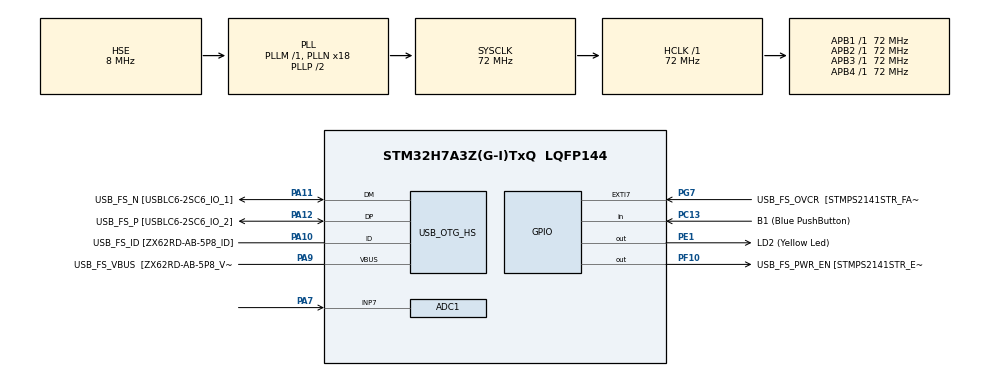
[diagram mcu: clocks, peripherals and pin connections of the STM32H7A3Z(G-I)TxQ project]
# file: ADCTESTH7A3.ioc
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ADC1.Channel-1\#ChannelRegularConversion=ADC_CHANNEL_7
ADC1.ClockPrescaler=ADC_CLOCK_ASYNC_DIV2
ADC1.ContinuousConvMode=ENABLE
ADC1.NbrOfConversionFlag=1
ADC1.OffsetNumber-1\#ChannelRegularConversion=ADC_OFFSET_NONE
ADC1.OffsetSignedSaturation-1\#ChannelRegularConversion=DISABLE
ADC1.Rank-1\#ChannelRegularConversion=1
ADC1.Resolution=ADC_RESOLUTION_12B
ADC1.SamplingTime-1\#ChannelRegularConversion=ADC_SAMPLETIME_64CYCLES_5
ADC1.master=1
Mcu.Family=STM32H7
Mcu.Name=STM32H7A3Z(G-I)TxQ
Mcu.Package=LQFP144
NVIC.PriorityGroup=NVIC_PRIORITYGROUP_4
PA10.GPIO_Label=USB_FS_ID [ZX62RD-AB-5P8_ID]
PA10.Mode=OTG/Dual-Role-Device-FS
PA10.Signal=USB_OTG_HS_ID
PA11.GPIO_Label=USB_FS_N [USBLC6-2SC6_IO_1]
PA11.Mode=OTG/Dual-Role-Device-FS
PA11.Signal=USB_OTG_HS_DM
PA12.GPIO_Label=USB_FS_P [USBLC6-2SC6_IO_2]
PA12.Mode=OTG/Dual-Role-Device-FS
PA12.Signal=USB_OTG_HS_DP
PA7.Signal=ADCx_INP7
PA9.GPIO_Label=USB_FS_VBUS  [ZX62RD-AB-5P8_VBUS]
PA9.Mode=Activate_VBUS_FS
PA9.Signal=USB_OTG_HS_VBUS
PC13.GPIO_Label=B1 (Blue PushButton)
PC13.Signal=GPIO_Input
PC14-OSC32_IN.GPIO_Label=OSC32_IN
PC14-OSC32_IN.Mode=LSE-External-Oscillator
PC14-OSC32_IN.Signal=RCC_OSC32_IN
PC15-OSC32_OUT.GPIO_Label=OSC32_OUT
PC15-OSC32_OUT.Mode=LSE-External-Oscillator
PC15-OSC32_OUT.Signal=RCC_OSC32_OUT
PE1.GPIO_Label=LD2 (Yellow Led)
PE1.Signal=GPIO_Output
PF10.GPIO_Label=USB_FS_PWR_EN [STMPS2141STR_EN]
PF10.Signal=GPIO_Output
PG7.GPIO_Label=USB_FS_OVCR  [STMPS2141STR_FAULT]
PG7.Signal=GPXTI7
PH0-OSC_IN.GPIO_Label=PH0-MCU
PH0-OSC_IN.Mode=HSE-External-Oscillator
PH0-OSC_IN.Signal=RCC_OSC_IN
PH1-OSC_OUT.GPIO_Label=PH1-MCU
PH1-OSC_OUT.Mode=HSE-External-Oscillator
PH1-OSC_OUT.Signal=RCC_OSC_OUT
ProjectManager.HeapSize=0x200
ProjectManager.StackSize=0x400
ProjectManager.TargetToolchain=STM32CubeIDE
RCC.ADCFreq_Value=42666666.666666664
RCC.APB1Freq_Value=72000000
RCC.APB2Freq_Value=72000000
RCC.APB3Freq_Value=72000000
RCC.APB4Freq_Value=72000000
RCC.CortexFreq_Value=72000000
RCC.DIVM1=1
RCC.DIVM2=1
RCC.DIVM3=1
RCC.DIVN1=18
RCC.DIVN2=16
RCC.DIVN3=24
RCC.DIVP2=3
RCC.DIVQ1=4
RCC.HCLKFreq_Value=72000000
RCC.HSE_VALUE=8000000
RCC.PLL2FRACN=0
RCC.PLLFRACN=0
RCC.PLLSourceVirtual=RCC_PLLSOURCE_HSE
RCC.PWR_Regulator_Voltage_Scale=PWR_REGULATOR_VOLTAGE_SCALE0
RCC.SYSCLKFreq_VALUE=72000000
RCC.SYSCLKSource=RCC_SYSCLKSOURCE_PLLCLK
RCC.SupplySource=PWR_DIRECT_SMPS_SUPPLY
RCC.USBCLockSelection=RCC_USBCLKSOURCE_HSI48
RCC.USBFreq_Value=48000000
SH.ADCx_INP7.0=ADC1_INP7,IN7-Single-Ended
board=NUCLEO-H7A3ZI-Q

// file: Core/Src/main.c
/* USER CODE BEGIN Header */
/**
  ******************************************************************************
  * @file           : main.c
  * @brief          : Main program body
  ******************************************************************************
  * @attention
  *
  * Copyright (c) 2024 STMicroelectronics.
  * All rights reserved.
  *
  * This software is licensed under terms that can be found in the LICENSE file
  * in the root directory of this software component.
  * If no LICENSE file comes with this software, it is provided AS-IS.
  *
  ******************************************************************************
  */
/* USER CODE END Header */
#include "main.h"

/* USER CODE BEGIN PM */
int RawValueB;
int OffsetB;
float VoltageB;
float AmpCurrentB = 0;
uint16_t adc_samples[10];
float current;
float adc_average=0;
uint16_t readValue;
float sensitivity = 0.1; // 0.1 for 20A Model
float rawVoltage;
float current;
uint32_t adc_sum = 0;
uint32_t calibration_value;
/* USER CODE END PM */

ADC_HandleTypeDef hadc1;

void SystemClock_Config(void);
static void MX_GPIO_Init(void);
static void MX_USB_OTG_HS_USB_Init(void);
static void MX_ADC1_Init(void);

int main(void)
{

  /* MCU Configuration--------------------------------------------------------*/

  /* Reset of all peripherals, Initializes the Flash interface and the Systick. */
  HAL_Init();

  /* Configure the system clock */
  SystemClock_Config();

  /* Initialize all configured peripherals */
  MX_GPIO_Init();
  MX_USB_OTG_HS_USB_Init();
  MX_ADC1_Init();

  /* Infinite loop */
  while (1)
  {

    /* USER CODE BEGIN 3 */

	  for(int i=0;i<4;i++){
	           HAL_ADC_Start(&hadc1);
	 		   HAL_ADC_PollForConversion(&hadc1, 5);
	 		  adc_samples[i]  = HAL_ADC_GetValue (&hadc1);
	 		  adc_sum+= adc_samples[i] ;
	        }
	      adc_average=adc_sum/4.0f;
	 	  VoltageB = (float) (adc_average*3.3)/4095.0f;
	 	  current = (VoltageB-2.57f)/0.066f;
	 		adc_sum=0;
	 		//HAL_Delay(10);
   }

  /* USER CODE END 3 */
}

void SystemClock_Config(void)
{
  RCC_OscInitTypeDef RCC_OscInitStruct = {0};
  RCC_ClkInitTypeDef RCC_ClkInitStruct = {0};

  /*AXI clock gating */
  RCC->CKGAENR = 0xFFFFFFFF;

  /** Supply configuration update enable
  */
  HAL_PWREx_ConfigSupply(PWR_DIRECT_SMPS_SUPPLY);

  /** Configure the main internal regulator output voltage
  */
  __HAL_PWR_VOLTAGESCALING_CONFIG(PWR_REGULATOR_VOLTAGE_SCALE0);

  while(!__HAL_PWR_GET_FLAG(PWR_FLAG_VOSRDY)) {}

  /** Initializes the RCC Oscillators according to the specified parameters
  * in the RCC_OscInitTypeDef structure.
  */
  RCC_OscInitStruct.OscillatorType = RCC_OSCILLATORTYPE_HSI48|RCC_OSCILLATORTYPE_HSE;
  RCC_OscInitStruct.HSEState = RCC_HSE_ON;
  RCC_OscInitStruct.HSI48State = RCC_HSI48_ON;
  RCC_OscInitStruct.PLL.PLLState = RCC_PLL_ON;
  RCC_OscInitStruct.PLL.PLLSource = RCC_PLLSOURCE_HSE;
  RCC_OscInitStruct.PLL.PLLM = 1;
  RCC_OscInitStruct.PLL.PLLN = 18;
  RCC_OscInitStruct.PLL.PLLP = 2;
  RCC_OscInitStruct.PLL.PLLQ = 4;
  RCC_OscInitStruct.PLL.PLLR = 2;
  RCC_OscInitStruct.PLL.PLLRGE = RCC_PLL1VCIRANGE_3;
  RCC_OscInitStruct.PLL.PLLVCOSEL = RCC_PLL1VCOWIDE;
  RCC_OscInitStruct.PLL.PLLFRACN = 0;
  if (HAL_RCC_OscConfig(&RCC_OscInitStruct) != HAL_OK)
  {
    Error_Handler();
  }

  /** Initializes the CPU, AHB and APB buses clocks
  */
  RCC_ClkInitStruct.ClockType = RCC_CLOCKTYPE_HCLK|RCC_CLOCKTYPE_SYSCLK
                              |RCC_CLOCKTYPE_PCLK1|RCC_CLOCKTYPE_PCLK2
                              |RCC_CLOCKTYPE_D3PCLK1|RCC_CLOCKTYPE_D1PCLK1;
  RCC_ClkInitStruct.SYSCLKSource = RCC_SYSCLKSOURCE_PLLCLK;
  RCC_ClkInitStruct.SYSCLKDivider = RCC_SYSCLK_DIV1;
  RCC_ClkInitStruct.AHBCLKDivider = RCC_HCLK_DIV1;
  RCC_ClkInitStruct.APB3CLKDivider = RCC_APB3_DIV1;
  RCC_ClkInitStruct.APB1CLKDivider = RCC_APB1_DIV1;
  RCC_ClkInitStruct.APB2CLKDivider = RCC_APB2_DIV1;
  RCC_ClkInitStruct.APB4CLKDivider = RCC_APB4_DIV1;

  if (HAL_RCC_ClockConfig(&RCC_ClkInitStruct, FLASH_LATENCY_1) != HAL_OK)
  {
    Error_Handler();
  }
}

static void MX_ADC1_Init(void)
{

  ADC_MultiModeTypeDef multimode = {0};
  ADC_ChannelConfTypeDef sConfig = {0};

  /** Common config
  */
  hadc1.Instance = ADC1;
  hadc1.Init.ClockPrescaler = ADC_CLOCK_ASYNC_DIV2;
  hadc1.Init.Resolution = ADC_RESOLUTION_12B;
  hadc1.Init.ScanConvMode = ADC_SCAN_DISABLE;
  hadc1.Init.EOCSelection = ADC_EOC_SINGLE_CONV;
  hadc1.Init.LowPowerAutoWait = DISABLE;
  hadc1.Init.ContinuousConvMode = ENABLE;
  hadc1.Init.NbrOfConversion = 1;
  hadc1.Init.DiscontinuousConvMode = DISABLE;
  hadc1.Init.ExternalTrigConv = ADC_SOFTWARE_START;
  hadc1.Init.ExternalTrigConvEdge = ADC_EXTERNALTRIGCONVEDGE_NONE;
  hadc1.Init.ConversionDataManagement = ADC_CONVERSIONDATA_DR;
  hadc1.Init.Overrun = ADC_OVR_DATA_PRESERVED;
  hadc1.Init.LeftBitShift = ADC_LEFTBITSHIFT_NONE;
  hadc1.Init.OversamplingMode = DISABLE;
  if (HAL_ADC_Init(&hadc1) != HAL_OK)
  {
    Error_Handler();
  }

  /** Configure the ADC multi-mode
  */
  multimode.Mode = ADC_MODE_INDEPENDENT;
  if (HAL_ADCEx_MultiModeConfigChannel(&hadc1, &multimode) != HAL_OK)
  {
    Error_Handler();
  }

  /** Configure Regular Channel
  */
  sConfig.Channel = ADC_CHANNEL_7;
  sConfig.Rank = ADC_REGULAR_RANK_1;
  sConfig.SamplingTime = ADC_SAMPLETIME_64CYCLES_5;
  sConfig.SingleDiff = ADC_SINGLE_ENDED;
  sConfig.OffsetNumber = ADC_OFFSET_NONE;
  sConfig.Offset = 0;
  sConfig.OffsetSignedSaturation = DISABLE;
  if (HAL_ADC_ConfigChannel(&hadc1, &sConfig) != HAL_OK)
  {
    Error_Handler();
  }

}

static void MX_USB_OTG_HS_USB_Init(void)
{

}

static void MX_GPIO_Init(void)
{
  GPIO_InitTypeDef GPIO_InitStruct = {0};

  /* GPIO Ports Clock Enable */
  __HAL_RCC_GPIOC_CLK_ENABLE();
  __HAL_RCC_GPIOF_CLK_ENABLE();
  __HAL_RCC_GPIOH_CLK_ENABLE();
  __HAL_RCC_GPIOA_CLK_ENABLE();
  __HAL_RCC_GPIOG_CLK_ENABLE();
  __HAL_RCC_GPIOE_CLK_ENABLE();

  /*Configure GPIO pin Output Level */
  HAL_GPIO_WritePin(USB_FS_PWR_EN_GPIO_Port, USB_FS_PWR_EN_Pin, GPIO_PIN_RESET);

  /*Configure GPIO pin Output Level */
  HAL_GPIO_WritePin(LD2_GPIO_Port, LD2_Pin, GPIO_PIN_RESET);

  /*Configure GPIO pin : B1_Pin */
  GPIO_InitStruct.Pin = B1_Pin;
  GPIO_InitStruct.Mode = GPIO_MODE_INPUT;
  GPIO_InitStruct.Pull = GPIO_NOPULL;
  HAL_GPIO_Init(B1_GPIO_Port, &GPIO_InitStruct);

  /*Configure GPIO pin : USB_FS_PWR_EN_Pin */
  GPIO_InitStruct.Pin = USB_FS_PWR_EN_Pin;
  GPIO_InitStruct.Mode = GPIO_MODE_OUTPUT_PP;
  GPIO_InitStruct.Pull = GPIO_NOPULL;
  GPIO_InitStruct.Speed = GPIO_SPEED_FREQ_LOW;
  HAL_GPIO_Init(USB_FS_PWR_EN_GPIO_Port, &GPIO_InitStruct);

  /*Configure GPIO pin : USB_FS_OVCR_Pin */
  GPIO_InitStruct.Pin = USB_FS_OVCR_Pin;
  GPIO_InitStruct.Mode = GPIO_MODE_IT_RISING;
  GPIO_InitStruct.Pull = GPIO_NOPULL;
  HAL_GPIO_Init(USB_FS_OVCR_GPIO_Port, &GPIO_InitStruct);

  /*Configure GPIO pin : USB_FS_VBUS_Pin */
  GPIO_InitStruct.Pin = USB_FS_VBUS_Pin;
  GPIO_InitStruct.Mode = GPIO_MODE_INPUT;
  GPIO_InitStruct.Pull = GPIO_NOPULL;
  HAL_GPIO_Init(USB_FS_VBUS_GPIO_Port, &GPIO_InitStruct);

  /*Configure GPIO pin : USB_FS_ID_Pin */
  GPIO_InitStruct.Pin = USB_FS_ID_Pin;
  GPIO_InitStruct.Mode = GPIO_MODE_AF_PP;
  GPIO_InitStruct.Pull = GPIO_NOPULL;
  GPIO_InitStruct.Speed = GPIO_SPEED_FREQ_LOW;
  GPIO_InitStruct.Alternate = GPIO_AF10_OTG1_HS;
  HAL_GPIO_Init(USB_FS_ID_GPIO_Port, &GPIO_InitStruct);

  /*Configure GPIO pins : USB_FS_N_Pin USB_FS_P_Pin */
  GPIO_InitStruct.Pin = USB_FS_N_Pin|USB_FS_P_Pin;
  GPIO_InitStruct.Mode = GPIO_MODE_AF_PP;
  GPIO_InitStruct.Pull = GPIO_NOPULL;
  GPIO_InitStruct.Speed = GPIO_SPEED_FREQ_LOW;
  HAL_GPIO_Init(GPIOA, &GPIO_InitStruct);

  /*Configure GPIO pin : LD2_Pin */
  GPIO_InitStruct.Pin = LD2_Pin;
  GPIO_InitStruct.Mode = GPIO_MODE_OUTPUT_PP;
  GPIO_InitStruct.Pull = GPIO_NOPULL;
  GPIO_InitStruct.Speed = GPIO_SPEED_FREQ_LOW;
  HAL_GPIO_Init(LD2_GPIO_Port, &GPIO_InitStruct);

}

void Error_Handler(void)
{
  __disable_irq();
  while (1)
  {
  }
}
